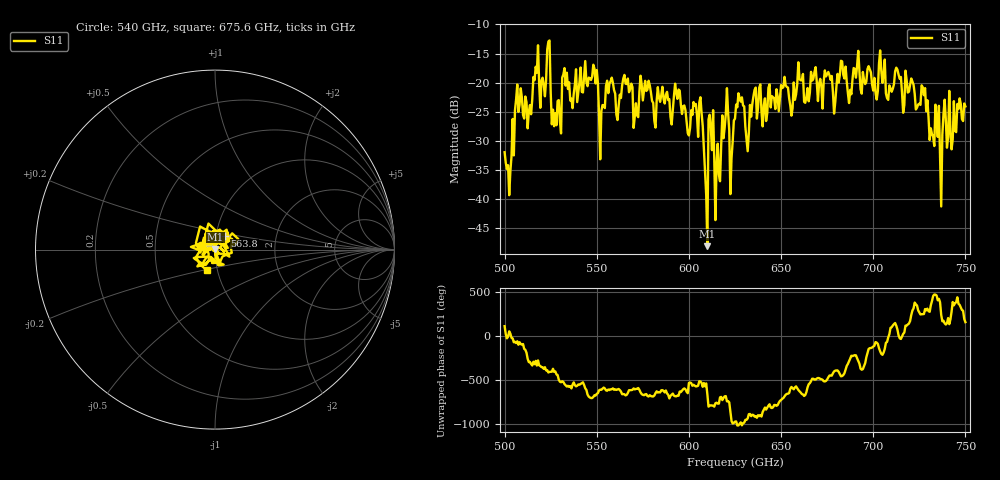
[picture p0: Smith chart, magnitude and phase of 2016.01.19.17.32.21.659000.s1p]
!Created with skrf (http://scikit-rf.org).
# GHz S RI R 50.0
!freq ReS11 ImS11
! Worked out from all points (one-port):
!   401 points, 500 GHz to 750 GHz, reference 50 ohm
!   lowest |S11| = -48.1 dB at 610 GHz (marker M1), VSWR 1.01, Z = 50.2 + j0.326 ohm
!   |S11| at or under -10 dB: start of sweep to end of sweep
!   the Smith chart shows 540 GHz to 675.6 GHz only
!   S11 on the Smith chart (normalised r, x): 540 GHz: 0.85, +0.03; 563.8 GHz: 1.10, +0.17; 675.6 GHz: 0.89, -0.21
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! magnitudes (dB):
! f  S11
! 500 GHz  -32.0
! 502.5 GHz  -39.4
! 506.9 GHz  -20.3
! 513.8 GHz  -23.9
! 516.9 GHz  -17.3
! 523.8 GHz  -12.9
! 526.9 GHz  -27.5
! 531.2 GHz  -19.1
! 540 GHz  -21.7
! 552.5 GHz  -24.9
! 562.5 GHz  -22.1
! 563.8 GHz  -20.5
! 571.2 GHz  -23.6
! 593.8 GHz  -22.8
! 606.9 GHz  -25.3
! 608.8 GHz  -35.1
! 610 GHz  -48.1
! 611.9 GHz  -27.7
! 615.6 GHz  -30.5
! 619.4 GHz  -27.8
! 623.1 GHz  -32.9
! 625 GHz  -26.2
! 656.2 GHz  -24.4
! 675.6 GHz  -18.2
! 687.5 GHz  -21.2
! 718.8 GHz  -21.7
! 736.2 GHz  -32.5
! 750 GHz  -24.1
